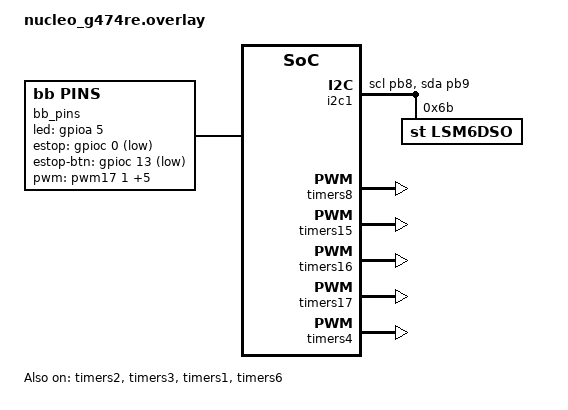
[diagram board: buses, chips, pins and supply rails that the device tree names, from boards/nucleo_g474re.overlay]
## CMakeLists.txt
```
cmake_minimum_required(VERSION 3.20.0)

# hal_stm32 モジュール（west ワークスペース外のため明示）。
# 既定は C:/zephyr_ws、環境変数 ZEPHYR_WS_DIR で上書き可能。
if(NOT DEFINED ENV{ZEPHYR_WS_DIR})
  set(ZEPHYR_WS_DIR "C:/zephyr_ws")
else()
  set(ZEPHYR_WS_DIR "$ENV{ZEPHYR_WS_DIR}")
endif()
list(APPEND ZEPHYR_MODULES
  ${ZEPHYR_WS_DIR}/modules/hal/stm32
  ${ZEPHYR_WS_DIR}/modules/hal/cmsis_6
  ${ZEPHYR_WS_DIR}/modules/hal/st
)

find_package(Zephyr REQUIRED HINTS $ENV{ZEPHYR_BASE})
project(ball_balancing_omni3_stm32 LANGUAGES C CXX)

target_include_directories(app PRIVATE
  ${CMAKE_CURRENT_SOURCE_DIR}/src
  ${CMAKE_CURRENT_SOURCE_DIR}/third_party/etl/include
)

# 制限付きC++: 例外・RTTI・動的確保は使用しない。
target_compile_options(app PRIVATE
  $<$<COMPILE_LANGUAGE:CXX>:-fno-exceptions -fno-rtti -fno-threadsafe-statics -Wall -Wextra -DETL_NO_STL>
)

target_sources(app PRIVATE
  src/main.cpp


  src/peripheral/gpio_pin/gpio_pin.cpp
  src/peripheral/pwm_output/pwm_output.cpp
  src/peripheral/encoder_counter/encoder_counter.cpp
  src/peripheral/timebase/timebase.cpp
  src/peripheral/control_tick/control_tick.cpp
  src/peripheral/debug_uart/debug_uart.cpp
  src/peripheral/link_uart/link_uart.cpp
  src/peripheral/flash_store/flash_store.cpp

  src/common/link_protocol/link_protocol.cpp
  src/common/param_store/param_store.cpp

  src/device/lsm6dso/lsm6dso.cpp
  src/device/wheel_encoder/wheel_encoder.cpp
  src/device/mdd3a_motor/mdd3a_motor.cpp
  src/device/status_led/status_led.cpp
  src/device/estop_input/estop_input.cpp

  src/feature/state_estimator/state_estimator.cpp
  src/feature/balance_controller/balance_controller.cpp
  src/feature/wheel_servo/wheel_servo.cpp
  src/feature/command_profile/command_profile.cpp
  src/feature/wheel_speed_meter/wheel_speed_meter.cpp
  src/feature/odometry/odometry.cpp
  src/feature/position_controller/position_controller.cpp
  src/feature/operation_manager/operation_manager.cpp
  src/feature/link_session/link_session.cpp
  src/feature/tune_deadzone/tune_deadzone.cpp

  src/manager/robot_application/robot_application.cpp
  src/manager/task_scheduler/task_scheduler.cpp
)
```

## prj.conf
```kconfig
# Zephyr 4.3.0 / nucleo_g474re
CONFIG_GPIO=y
CONFIG_DYNAMIC_INTERRUPTS=y
CONFIG_PWM=y
CONFIG_I2C=y
CONFIG_SENSOR=y
CONFIG_LSM6DSO=y

CONFIG_SERIAL=y
CONFIG_UART_INTERRUPT_DRIVEN=y
CONFIG_POLL=y
CONFIG_CONSOLE=y
CONFIG_PRINTK=y
CONFIG_LOG=y
CONFIG_SHELL=y
CONFIG_SHELL_BACKEND_SERIAL=y
# printk が LOG 経由でシェルのログバックエンドに流れ、メッセージ毎に
# 「行消去＋プロンプト再描画」が挟まるのを防ぐ（printk は UART コンソールへ直接出力）。
CONFIG_LOG_PRINTK=n
# printk(uart_poll_out)とシェル割込TXの競合を避けるためシェルTXもpoll_outに統一
# （RXは割込駆動のまま）。
CONFIG_SHELL_BACKEND_SERIAL_FORCE_TX_BLOCKING_MODE=y

# 制限付きC++（例外・RTTI・動的確保なし）
CONFIG_CPP=y
CONFIG_STD_CPP23=y
CONFIG_STATIC_INIT_GNU=n

# FPU 利用（制御スレッドで浮動小数点を使用）
CONFIG_FPU=y
CONFIG_FPU_SHARING=y

# ヒープは使用しない
CONFIG_HEAP_MEM_POOL_SIZE=0

CONFIG_MAIN_STACK_SIZE=8192
CONFIG_SYSTEM_WORKQUEUE_STACK_SIZE=2048

# ログ
CONFIG_LOG_DEFAULT_LEVEL=3
CONFIG_LOG_MODE_IMMEDIATE=y

# FR-15 パラメータ不揮発保存（storage_partition への flash_area 経由）
CONFIG_FLASH=y
CONFIG_FLASH_MAP=y
CONFIG_FLASH_PAGE_LAYOUT=y
```

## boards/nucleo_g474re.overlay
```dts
/*
 * Ball-balancing robot on NUCLEO-G474RE
 * ピン割当の正本は spec/requirements/hardware_config.md
 */

#include <zephyr/dt-bindings/pwm/pwm.h>
#include <zephyr/dt-bindings/pwm/stm32_pwm.h>
#include <zephyr/dt-bindings/sensor/lsm6dso.h>

/ {
	aliases {
		imu0 = &lsm6dso;
		pwm-m0 = &pwm17;
		pwm-m1 = &pwm16;
		pwm-m2 = &pwm4;
		qdec0 = &qdec0;
		qdec1 = &qdec1;
		qdec2 = &qdec2;
		control-tick = &timers6;
		/* ボード標準 dts が PC4(TX)/PC5(RX) 115200 で有効化済み。
		 * ESP32 無線変換器経由の BLE リンク用。 */
		link-uart = &usart1;
	};

	bb_pins: bb-pins {
		compatible = "bb,pins";
		led-gpios = <&gpioa 5 GPIO_ACTIVE_HIGH>;
		estop-gpios = <&gpioc 0 (GPIO_ACTIVE_LOW | GPIO_PULL_UP)>;
		estop-btn-gpios = <&gpioc 13 (GPIO_ACTIVE_LOW | GPIO_PULL_UP)>;
		/* motor PWM: 20 kHz キャリア。
		 * MDD3A は CW/CCW 2入力のため MxA/MxB とも PWM とし、
		 * MxA(正転脚)/MxB(逆転脚) をモーターごとに交互に並べる。
		 * M0B は TIM8_CH1N のため COMPLEMENTARY フラグが必要。 */
		pwms = <&pwm17 1 PWM_KHZ(20) PWM_POLARITY_NORMAL>,
		       <&pwm8 1 PWM_KHZ(20) (PWM_POLARITY_NORMAL | STM32_PWM_COMPLEMENTARY)>,
		       <&pwm16 1 PWM_KHZ(20) PWM_POLARITY_NORMAL>,
		       <&pwm15 1 PWM_KHZ(20) PWM_POLARITY_NORMAL>,
		       <&pwm4 1 PWM_KHZ(20) PWM_POLARITY_NORMAL>,
		       <&pwm8 2 PWM_KHZ(20) PWM_POLARITY_NORMAL>;
	};
};

/* ボード標準 dts がデフォルト有効化しているノードのうち、
 * 本機のモーター/エンコーダ/LED ピンを奪うものを無効化する。
 * pwm3: PB4(M1A) を TIM3_CH1 として確保 → TIM16_CH1 と二重設定になる
 * pwm2: PA5(LD2) を TIM2_CH1 として確保
 * spi1: PA5/PA6/PA7(LD2, ENC2) と CS=PB6(M2A) を確保
 * spi2: PB14(M1B) を含むピンを確保
 * adc1: PA0(ENC0) をアナログ入力として確保 */
&pwm2 {
	status = "disabled";
};

&pwm3 {
	status = "disabled";
};

&spi1 {
	status = "disabled";
};

&spi2 {
	status = "disabled";
};

&adc1 {
	status = "disabled";
};

/* IMU: LSM6DSO on I2C1 (PB8/PB9) */
&i2c1 {
	pinctrl-0 = <&i2c1_scl_pb8 &i2c1_sda_pb9>;
	pinctrl-names = "default";
	status = "okay";

	lsm6dso: lsm6dso@6b {
		compatible = "st,lsm6dso";
		reg = <0x6b>;
		status = "okay";
		accel-range = <LSM6DSO_DT_FS_4G>;
		accel-odr = <LSM6DSO_DT_ODR_833Hz>;
		gyro-range = <LSM6DSO_DT_FS_2000DPS>;
		gyro-odr = <LSM6DSO_DT_ODR_833Hz>;
	};
};

/* Wheel encoders (qdec childでエンコーダモード設定。
 * st,counts-per-revolution は Zephyr qdec ドライバが
 * ARR = UINT_MAX - (UINT_MAX % cpr) - 1 を設定するために使う。
 * 65536 を指定すると 16bit タイマは ARR=0xFFFF、32bit の TIM2 は
 * ARR=0xFFFF0000 となり、いずれも折返し境界が 2^16 の倍数になる。
 * encoder_counter は差分を int16 で読むため折返しを透過的に処理できる。
 * （旧 16384 指定では 16bit タイマで ARR=49151 となり、
 *  負方向の 0 跨ぎで差分が -16385 に跳んでいた） */
&timers2 {
	status = "okay";
	st,prescaler = <0>;

	qdec0: qdec {
		compatible = "st,stm32-qdec";
		status = "okay";
		pinctrl-0 = <&tim2_ch1_pa0 &tim2_ch2_pa1>;
		pinctrl-names = "default";
		st,encoder-mode = <3>;
		st,counts-per-revolution = <65536>;
		st,input-filter-level = <0>;
	};
};

&timers3 {
	status = "okay";
	st,prescaler = <0>;

	qdec2: qdec {
		compatible = "st,stm32-qdec";
		status = "okay";
		pinctrl-0 = <&tim3_ch1_pa6 &tim3_ch2_pa7>;
		pinctrl-names = "default";
		st,encoder-mode = <3>;
		st,counts-per-revolution = <65536>;
		st,input-filter-level = <0>;
	};
};

&timers1 {
	status = "okay";
	st,prescaler = <0>;

	qdec1: qdec {
		compatible = "st,stm32-qdec";
		status = "okay";
		pinctrl-0 = <&tim1_ch1_pa8 &tim1_ch2_pa9>;
		pinctrl-names = "default";
		st,encoder-mode = <3>;
		st,counts-per-revolution = <65536>;
		st,input-filter-level = <0>;
	};
};

/* Motor PWM: MxA=TIM17/16/4、MxB=TIM8(CH1N/CH2)+TIM15
 * M0A=TIM17_CH1/PB5(D4)  M0B=TIM8_CH1N/PB3(D3)
 * M1A=TIM16_CH1/PB4(D5)  M1B=TIM15_CH1/PB14(モルフォ CN10-28)
 * M2A=TIM4_CH1/PB6(D10)  M2B=TIM8_CH2/PC7(D9) */
&timers8 {
	status = "okay";
	st,prescaler = <0>;

	pwm8: pwm {
		status = "okay";
		pinctrl-0 = <&tim8_ch1n_pb3 &tim8_ch2_pc7>;
		pinctrl-names = "default";
	};
};

&timers15 {
	status = "okay";
	st,prescaler = <0>;

	pwm15: pwm {
		status = "okay";
		pinctrl-0 = <&tim15_ch1_pb14>;
		pinctrl-names = "default";
	};
};

&timers16 {
	status = "okay";
	st,prescaler = <0>;

	pwm16: pwm {
		status = "okay";
		pinctrl-0 = <&tim16_ch1_pb4>;
		pinctrl-names = "default";
	};
};

&timers17 {
	status = "okay";
	st,prescaler = <0>;

	pwm17: pwm {
		status = "okay";
		pinctrl-0 = <&tim17_ch1_pb5>;
		pinctrl-names = "default";
	};
};

&timers4 {
	status = "okay";
	st,prescaler = <0>;

	pwm4: pwm {
		status = "okay";
		pinctrl-0 = <&tim4_ch1_pb6>;
		pinctrl-names = "default";
	};
};

/* 1 kHz 制御ティック（ドライバ不使用、IRQ_CONNECTで占有） */
&timers6 {
	status = "okay";
	st,prescaler = <169>; /* 170 MHz / 170 = 1 MHz カウント */
};
```

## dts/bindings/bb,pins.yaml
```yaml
description: Ball-balancing robot board GPIO/PWM assignments
compatible: "bb,pins"

include: base.yaml

properties:
  led-gpios:
    type: phandle-array
    required: true
    description: Status LED output pin
  estop-gpios:
    type: phandle-array
    required: true
    description: External emergency stop input (active low)
  estop-btn-gpios:
    type: phandle-array
    required: true
    description: Board button emergency stop input (active low)
  pwms:
    type: phandle-array
    required: true
    description: Motor PWM outputs, MxA/MxB pairs per motor (M0A, M0B, M1A, M1B, M2A, M2B)
```

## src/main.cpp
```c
#include "manager/robot_application/robot_application.hpp"

// ハードウェア初期化（クロック・ピンmux・ペリフェラル）は
// devicetree + Zephyr ドライバの SYS 初期化で完了している。
// ここでは各 static class を初期化して制御ループを開始するだけ。

int main() {
  // 実機で確認した IMU 実装向き（hardware_config.md 参照）:
  // 加速度・角速度ともセンサ軸は機体軸と一致（単位写像）。
  // 加速度は比力出力（下げた側の軸成分は負、静置で +Z≈+1 g が正しい値）、
  // 角速度はデータシート規約どおり機体軸まわり右ねじ正転で正。
  const bb::robot_application::config cfg = {&bb::get_params(),
                                           bb::mat_identity3(),
                                           bb::mat_identity3()};
  // IMU 未検出でも制御ループは回し続ける。
  // 推定器が valid=false を返し続け、制御器は mode 0（停止）へ向かう。
  bb::robot_application::init(cfg);
  bb::robot_application::run();
}
```
